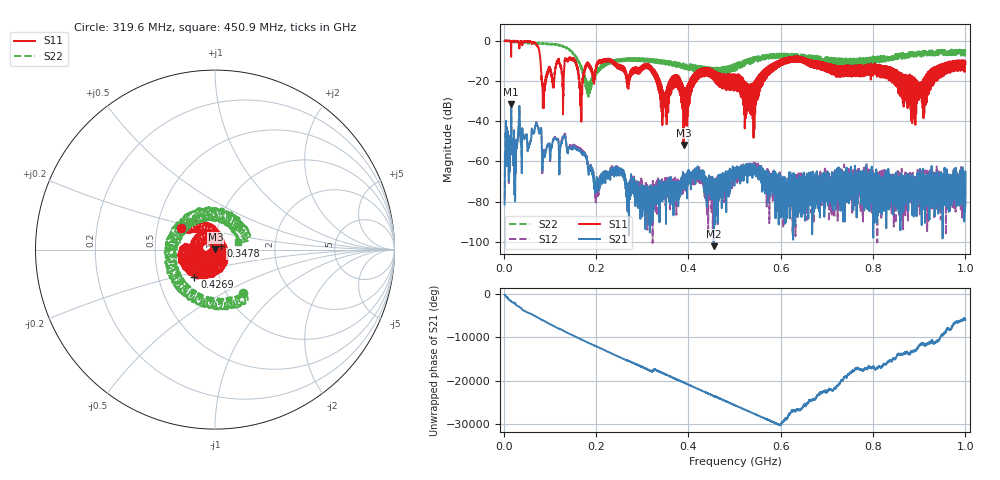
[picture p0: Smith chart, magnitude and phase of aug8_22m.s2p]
!Keysight Technologies N9923A: A.12.45
!Date: Friday, 08 August 2025 17:44:41
!Timezone: (UTC+08:00) Kuala Lumpur, Singapore
!Model: N9923A
!Serial: MY61181427
!GPS Latitude:
!GPS Longitude:
!GPS TimeStamp: 0001-01-01 00:00:00Z
!GPS Seconds Since Last Read: 0
!CHECKSUM:0727220978
!Correction: S11(ON U)S21(ON U)S12(ON U)S22(ON U)
!S2P File: Measurements:S11,S21,S12,S22:
# Hz S DB R 50
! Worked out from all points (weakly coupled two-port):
!   4001 points, 2 MHz to 1 GHz, reference 50 ohm
!   highest |S21| = -31.72 dB at 16.22 MHz (marker M1); lowest = -102.2 dB at 455.3 MHz (marker M2)
!   lowest |S11| = -51.9 dB at 389.5 MHz (marker M3), VSWR 1.01, Z = 50.2 + j0.155 ohm
!   |S11| at or under -10 dB: 155.1 MHz to 205.9 MHz (50.75 MHz wide, 28.1 % of centre); 236 MHz to 596.2 MHz (360.2 MHz wide, 86.6 % of centre); 668.9 MHz to 980.9 MHz (312 MHz wide, 37.8 % of centre) (the widest 3 of 81)
!   |S22| runs from -28.0 to 0.1 dB; largest |S21 - S12| = 0.0012
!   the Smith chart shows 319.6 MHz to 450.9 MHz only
!   S11 on the Smith chart (normalised r, x): 319.6 MHz: 0.67, +0.17; 347.8 MHz: 1.06, +0.04; 426.9 MHz: 0.76, -0.24; 450.9 MHz: 0.78, -0.04
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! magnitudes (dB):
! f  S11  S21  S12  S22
! 2 MHz  -0.1  -81.4  -78.2  0.0
! 16.22 MHz  -8.0  -31.7  -31.5  -0.7
! 70.86 MHz  -2.0  -40.9  -40.6  -1.3
! 86.83 MHz  -33.6  -55.4  -54.4  -1.7
! 145.2 MHz  -8.5  -53.3  -52.1  -5.4
! 168.4 MHz  -35.6  -55.8  -54.3  -13.7
! 201.4 MHz  -11.5  -69.6  -69.2  -15.3
! 244.8 MHz  -13.2  -66.2  -65.3  -9.3
! 319.6 MHz  -13.1  -74.7  -80.2  -10.8
! 334.8 MHz  -19.3  -73.5  -74.7  -11.3
! 347.8 MHz  -28.4  -73.7  -73.9  -10.6
! 372 MHz  -17.4  -72.4  -74.0  -12.6
! 389.5 MHz  -51.9  -67.0  -68.7  -11.2
! 426.9 MHz  -14.5  -68.2  -66.7  -14.4
! 450.9 MHz  -17.9  -67.9  -71.3  -17.5
! 455.3 MHz  -14.9  -102.2  -74.9  -14.7
! 501 MHz  -16.7  -65.2  -64.3  -15.0
! 538.2 MHz  -24.2  -63.0  -62.6  -11.2
! 667.4 MHz  -10.3  -70.3  -78.4  -8.2
! 833.8 MHz  -18.3  -70.6  -69.5  -8.2
! 906.2 MHz  -23.3  -66.3  -71.1  -6.7
! 1 GHz  -11.7  -82.1  -70.5  -6.1
